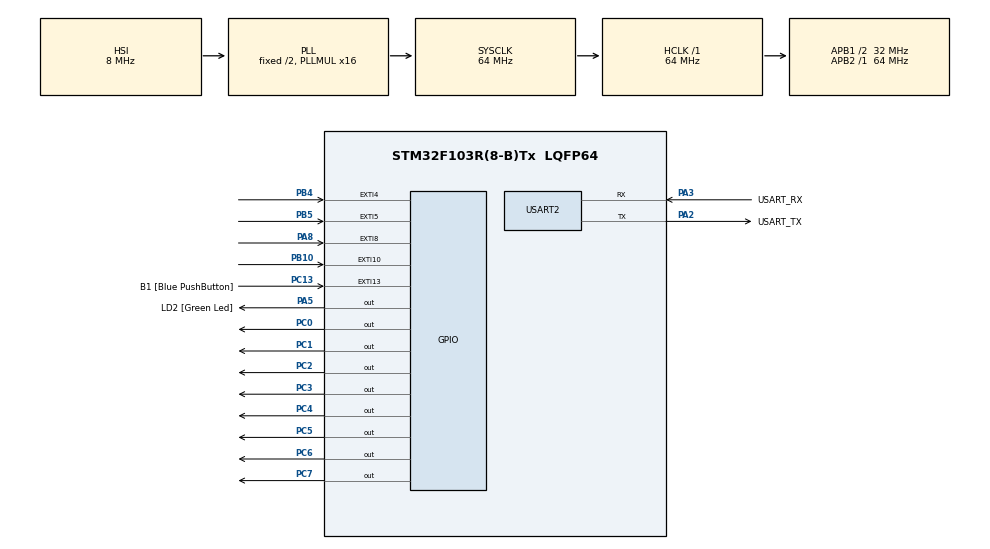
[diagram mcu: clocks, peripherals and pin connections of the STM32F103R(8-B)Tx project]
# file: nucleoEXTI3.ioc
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Mcu.Family=STM32F1
Mcu.Name=STM32F103R(8-B)Tx
Mcu.Package=LQFP64
NVIC.EXTI15_10_IRQn=true\:0\:0\:false\:false\:true\:true\:true\:true
NVIC.EXTI4_IRQn=true\:0\:0\:false\:false\:true\:true\:true\:true
NVIC.EXTI9_5_IRQn=true\:0\:0\:false\:false\:true\:true\:true\:true
NVIC.PriorityGroup=NVIC_PRIORITYGROUP_4
PA13.GPIO_Label=TMS
PA13.Mode=Serial_Wire
PA13.Signal=SYS_JTMS-SWDIO
PA14.GPIO_Label=TCK
PA14.Mode=Serial_Wire
PA14.Signal=SYS_JTCK-SWCLK
PA2.GPIO_Label=USART_TX
PA2.GPIO_Mode=GPIO_MODE_AF_PP
PA2.GPIO_PuPd=GPIO_NOPULL
PA2.GPIO_Speed=GPIO_SPEED_FREQ_LOW
PA2.Mode=Asynchronous
PA2.Signal=USART2_TX
PA3.GPIO_Label=USART_RX
PA3.GPIO_Mode=GPIO_MODE_AF_PP
PA3.GPIO_PuPd=GPIO_NOPULL
PA3.GPIO_Speed=GPIO_SPEED_FREQ_LOW
PA3.Mode=Asynchronous
PA3.Signal=USART2_RX
PA5.GPIO_Label=LD2 [Green Led]
PA5.GPIO_ModeDefaultOutputPP=GPIO_MODE_OUTPUT_PP
PA5.GPIO_PuPd=GPIO_NOPULL
PA5.GPIO_Speed=GPIO_SPEED_FREQ_LOW
PA5.Signal=GPIO_Output
PA8.GPIO_ModeDefaultEXTI=GPIO_MODE_IT_FALLING
PA8.Signal=GPXTI8
PB10.GPIO_ModeDefaultEXTI=GPIO_MODE_IT_FALLING
PB10.Signal=GPXTI10
PB3.GPIO_Label=SWO
PB3.Signal=SYS_JTDO-TRACESWO
PB4.GPIO_ModeDefaultEXTI=GPIO_MODE_IT_FALLING
PB4.Signal=GPXTI4
PB5.GPIO_ModeDefaultEXTI=GPIO_MODE_IT_FALLING
PB5.Signal=GPXTI5
PC0.Signal=GPIO_Output
PC1.Signal=GPIO_Output
PC13-TAMPER-RTC.GPIO_Label=B1 [Blue PushButton]
PC13-TAMPER-RTC.GPIO_PuPd=GPIO_NOPULL
PC13-TAMPER-RTC.Signal=GPXTI13
PC14-OSC32_IN.Mode=LSE-External-Oscillator
PC14-OSC32_IN.Signal=RCC_OSC32_IN
PC15-OSC32_OUT.Mode=LSE-External-Oscillator
PC15-OSC32_OUT.Signal=RCC_OSC32_OUT
PC2.Signal=GPIO_Output
PC3.Signal=GPIO_Output
PC4.Signal=GPIO_Output
PC5.Signal=GPIO_Output
PC6.Signal=GPIO_Output
PC7.Signal=GPIO_Output
PD0-OSC_IN.Mode=HSE-External-Clock-Source
PD0-OSC_IN.Signal=RCC_OSC_IN
PD1-OSC_OUT.Mode=HSE-External-Clock-Source
PD1-OSC_OUT.Signal=RCC_OSC_OUT
ProjectManager.HeapSize=0x200
ProjectManager.StackSize=0x400
ProjectManager.TargetToolchain=STM32CubeIDE
RCC.AHBFreq_Value=64000000
RCC.APB1CLKDivider=RCC_HCLK_DIV2
RCC.APB1Freq_Value=32000000
RCC.APB1TimFreq_Value=64000000
RCC.APB2Freq_Value=64000000
RCC.APB2TimFreq_Value=64000000
RCC.HCLKFreq_Value=64000000
RCC.PLLMUL=RCC_PLL_MUL16
RCC.RTCClockSelection=RCC_RTCCLKSOURCE_LSE
RCC.SYSCLKFreq_VALUE=64000000
RCC.SYSCLKSource=RCC_SYSCLKSOURCE_PLLCLK
RCC.USBFreq_Value=64000000
USART2.VirtualMode=VM_ASYNC
board=NUCLEO-F103RB

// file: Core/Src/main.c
/* USER CODE BEGIN Header */
/**
  ******************************************************************************
  * @file           : main.c
  * @brief          : Main program body
  ******************************************************************************
  * @attention
  *
  * Copyright (c) 2022 STMicroelectronics.
  * All rights reserved.
  *
  * This software is licensed under terms that can be found in the LICENSE file
  * in the root directory of this software component.
  * If no LICENSE file comes with this software, it is provided AS-IS.
  *
  ******************************************************************************
  */
/* USER CODE END Header */
#include "main.h"

 UART_HandleTypeDef huart2;

/* USER CODE BEGIN PV */
 uint8_t flagSW = 0;

/* USER CODE END PV */

void SystemClock_Config(void);
static void MX_GPIO_Init(void);
static void MX_USART2_UART_Init(void);

/* USER CODE BEGIN 0 */
void HAL_GPIO_EXTI_Callback(uint16_t GPIO_Pin)
{
	if(GPIO_Pin == GPIO_PIN_8) flagSW = 1;
	if(GPIO_Pin == GPIO_PIN_4) flagSW = 2;
	if(GPIO_Pin == GPIO_PIN_5) flagSW = 3;
	if(GPIO_Pin == GPIO_PIN_10) flagSW = 4;

}
/* USER CODE END 0 */

int main(void)
{

  /* MCU Configuration--------------------------------------------------------*/

  /* Reset of all peripherals, Initializes the Flash interface and the Systick. */
  HAL_Init();

  /* Configure the system clock */
  SystemClock_Config();

  /* Initialize all configured peripherals */
  MX_GPIO_Init();
  MX_USART2_UART_Init();

  /* Infinite loop */
  while (1)
  {

    /* USER CODE BEGIN 3 */

	  if(flagSW ==1){

		  HAL_GPIO_TogglePin(GPIOC, 0x03);
		  flagSW = 0;
	  }
	  else if(flagSW ==2){
		  HAL_GPIO_TogglePin(GPIOC, 0x0c);
		  flagSW = 0;
	  }
	  else if(flagSW ==3){

		  HAL_GPIO_TogglePin(GPIOC, 0x30);
		  flagSW = 0;
	  }
	  if(flagSW ==4){

		  HAL_GPIO_TogglePin(GPIOC, 0xc0);
		  flagSW = 0;
	  }

  }
  /* USER CODE END 3 */
}

void SystemClock_Config(void)
{
  RCC_OscInitTypeDef RCC_OscInitStruct = {0};
  RCC_ClkInitTypeDef RCC_ClkInitStruct = {0};

  /** Initializes the RCC Oscillators according to the specified parameters
  * in the RCC_OscInitTypeDef structure.
  */
  RCC_OscInitStruct.OscillatorType = RCC_OSCILLATORTYPE_HSI;
  RCC_OscInitStruct.HSIState = RCC_HSI_ON;
  RCC_OscInitStruct.HSICalibrationValue = RCC_HSICALIBRATION_DEFAULT;
  RCC_OscInitStruct.PLL.PLLState = RCC_PLL_ON;
  RCC_OscInitStruct.PLL.PLLSource = RCC_PLLSOURCE_HSI_DIV2;
  RCC_OscInitStruct.PLL.PLLMUL = RCC_PLL_MUL16;
  if (HAL_RCC_OscConfig(&RCC_OscInitStruct) != HAL_OK)
  {
    Error_Handler();
  }

  /** Initializes the CPU, AHB and APB buses clocks
  */
  RCC_ClkInitStruct.ClockType = RCC_CLOCKTYPE_HCLK|RCC_CLOCKTYPE_SYSCLK
                              |RCC_CLOCKTYPE_PCLK1|RCC_CLOCKTYPE_PCLK2;
  RCC_ClkInitStruct.SYSCLKSource = RCC_SYSCLKSOURCE_PLLCLK;
  RCC_ClkInitStruct.AHBCLKDivider = RCC_SYSCLK_DIV1;
  RCC_ClkInitStruct.APB1CLKDivider = RCC_HCLK_DIV2;
  RCC_ClkInitStruct.APB2CLKDivider = RCC_HCLK_DIV1;

  if (HAL_RCC_ClockConfig(&RCC_ClkInitStruct, FLASH_LATENCY_2) != HAL_OK)
  {
    Error_Handler();
  }
}

static void MX_USART2_UART_Init(void)
{

  huart2.Instance = USART2;
  huart2.Init.BaudRate = 115200;
  huart2.Init.WordLength = UART_WORDLENGTH_8B;
  huart2.Init.StopBits = UART_STOPBITS_1;
  huart2.Init.Parity = UART_PARITY_NONE;
  huart2.Init.Mode = UART_MODE_TX_RX;
  huart2.Init.HwFlowCtl = UART_HWCONTROL_NONE;
  huart2.Init.OverSampling = UART_OVERSAMPLING_16;
  if (HAL_UART_Init(&huart2) != HAL_OK)
  {
    Error_Handler();
  }

}

static void MX_GPIO_Init(void)
{
  GPIO_InitTypeDef GPIO_InitStruct = {0};

  /* GPIO Ports Clock Enable */
  __HAL_RCC_GPIOC_CLK_ENABLE();
  __HAL_RCC_GPIOD_CLK_ENABLE();
  __HAL_RCC_GPIOA_CLK_ENABLE();
  __HAL_RCC_GPIOB_CLK_ENABLE();

  /*Configure GPIO pin Output Level */
  HAL_GPIO_WritePin(GPIOC, GPIO_PIN_0|GPIO_PIN_1|GPIO_PIN_2|GPIO_PIN_3
                          |GPIO_PIN_4|GPIO_PIN_5|GPIO_PIN_6|GPIO_PIN_7, GPIO_PIN_RESET);

  /*Configure GPIO pin Output Level */
  HAL_GPIO_WritePin(LD2_GPIO_Port, LD2_Pin, GPIO_PIN_RESET);

  /*Configure GPIO pin : B1_Pin */
  GPIO_InitStruct.Pin = B1_Pin;
  GPIO_InitStruct.Mode = GPIO_MODE_IT_RISING;
  GPIO_InitStruct.Pull = GPIO_NOPULL;
  HAL_GPIO_Init(B1_GPIO_Port, &GPIO_InitStruct);

  /*Configure GPIO pins : PC0 PC1 PC2 PC3
                           PC4 PC5 PC6 PC7 */
  GPIO_InitStruct.Pin = GPIO_PIN_0|GPIO_PIN_1|GPIO_PIN_2|GPIO_PIN_3
                          |GPIO_PIN_4|GPIO_PIN_5|GPIO_PIN_6|GPIO_PIN_7;
  GPIO_InitStruct.Mode = GPIO_MODE_OUTPUT_PP;
  GPIO_InitStruct.Pull = GPIO_NOPULL;
  GPIO_InitStruct.Speed = GPIO_SPEED_FREQ_LOW;
  HAL_GPIO_Init(GPIOC, &GPIO_InitStruct);

  /*Configure GPIO pin : LD2_Pin */
  GPIO_InitStruct.Pin = LD2_Pin;
  GPIO_InitStruct.Mode = GPIO_MODE_OUTPUT_PP;
  GPIO_InitStruct.Pull = GPIO_NOPULL;
  GPIO_InitStruct.Speed = GPIO_SPEED_FREQ_LOW;
  HAL_GPIO_Init(LD2_GPIO_Port, &GPIO_InitStruct);

  /*Configure GPIO pins : PB10 PB4 PB5 */
  GPIO_InitStruct.Pin = GPIO_PIN_10|GPIO_PIN_4|GPIO_PIN_5;
  GPIO_InitStruct.Mode = GPIO_MODE_IT_FALLING;
  GPIO_InitStruct.Pull = GPIO_NOPULL;
  HAL_GPIO_Init(GPIOB, &GPIO_InitStruct);

  /*Configure GPIO pin : PA8 */
  GPIO_InitStruct.Pin = GPIO_PIN_8;
  GPIO_InitStruct.Mode = GPIO_MODE_IT_FALLING;
  GPIO_InitStruct.Pull = GPIO_NOPULL;
  HAL_GPIO_Init(GPIOA, &GPIO_InitStruct);

  /* EXTI interrupt init*/
  HAL_NVIC_SetPriority(EXTI4_IRQn, 0, 0);
  HAL_NVIC_EnableIRQ(EXTI4_IRQn);

  HAL_NVIC_SetPriority(EXTI9_5_IRQn, 0, 0);
  HAL_NVIC_EnableIRQ(EXTI9_5_IRQn);

  HAL_NVIC_SetPriority(EXTI15_10_IRQn, 0, 0);
  HAL_NVIC_EnableIRQ(EXTI15_10_IRQn);

}

void Error_Handler(void)
{
  __disable_irq();
  while (1)
  {
  }
}
